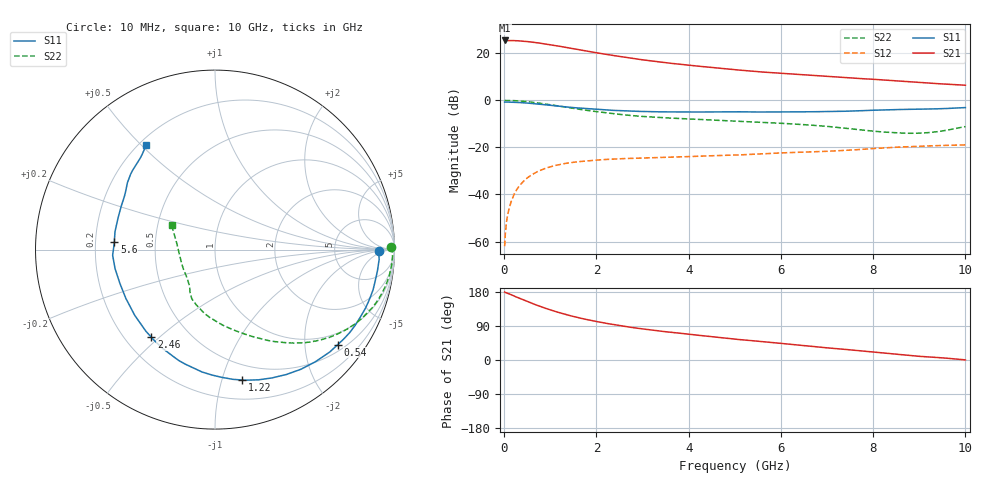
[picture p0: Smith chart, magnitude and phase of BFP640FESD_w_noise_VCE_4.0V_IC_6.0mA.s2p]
! Infineon Technologies  Discrete & RF Semiconductors
! BFP640FESD
! VCE =  4.0 V,  IC =  6.0 mA
! Common Emitter S-Parameters:  Jan 2016
# GHz  S  MA  R  50
!  f  S11  S21  S12  S22
! GHz  MAG  ANG  MAG  ANG  MAG  ANG  MAG  ANG
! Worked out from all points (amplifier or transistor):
!   233 points, 10 MHz to 10 GHz, reference 50 ohm
!   highest |S21| = 25.4 dB at 10 MHz (marker M1)
!   |S21| within 3 dB of that: start of sweep to 1.352 GHz
!   unconditionally stable (mu >= 1): start of sweep to 12.51 MHz; 5.603 GHz to end of sweep
!   at 200 MHz: K = 0.10, MSG = 33.0 dB, |S12| = -40.6 dB
!   at 1.74 GHz: K = 0.34, MSG = 23.4 dB, |S12| = -25.8 dB
!   at 10 GHz: K = 1.18, MAG = 10.1 dB, |S12| = -18.9 dB
!   lowest NFmin = 0.56 dB at 450 MHz
!   S11 on the Smith chart (normalised r, x): 10 MHz: 22, -2; 540 MHz: 0.66, -2.79; 1.22 GHz: 0.36, -1.17; 2.46 GHz: 0.31, -0.47; 5.6 GHz: 0.28, +0.04; 10 GHz: 0.23, +0.52
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0.01  0.9147 -0.4  18.57 179.2  0.0008 -5.4  0.9825 0.8
0.045  0.9156 -3.1  18.41 177.4  0.0024 71.9  0.9897 -1.8
0.085  0.9137 -6.0  18.45 175.6  0.0041 77.5  0.9891 -3.5
0.195  0.9087 -13.9  18.46 170.1  0.0091 77.8  0.982 -8.2
0.3  0.8998 -21.3  18.28 164.6  0.0139 75.7  0.9699 -12.5
0.54  0.865 -37.7  17.42 152.5  0.0239 68.2  0.9239 -21.9
0.7  0.8386 -48.2  16.72 145.0  0.0298 63.3  0.8857 -27.7
0.9  0.8013 -60.3  15.63 136.3  0.036 57.6  0.8317 -34.3
1.02  0.7781 -67.2  14.96 131.5  0.0392 54.5  0.7977 -38.1
1.22  0.7427 -78.1  13.87 124.0  0.0436 49.9  0.7429 -43.7
1.4  0.7123 -87.1  12.9 117.8  0.0468 46.3  0.6956 -48.4
1.68  0.674 -99.3  11.55 109.6  0.0506 41.8  0.6325 -54.7
2  0.6402 -111.1  10.17 101.6  0.0537 38.1  0.5739 -61.0
2.46  0.6036 -126.0  8.633 91.7  0.057 34.2  0.5071 -69.4
2.98  0.5785 -140.2  7.262 82.3  0.0594 31.4  0.4549 -77.8
3.4  0.5669 -149.2  6.436 76.3  0.0609 30.5  0.4291 -82.8
4  0.5624 -160.5  5.539 67.9  0.0637 30.2  0.4017 -88.6
5.1  0.569 -178.0  4.363 53.9  0.0692 29.9  0.3566 -100.2
5.6  0.5628 175.6  3.971 48.4  0.0728 30.9  0.3403 -104.1
6.8  0.5719 157.7  3.304 34.5  0.0813 29.6  0.2889 -117.8
8.4  0.6302 138.3  2.62 16.4  0.0997 28.1  0.2064 -148.6
10  0.6989 123.1  2.085 0.3  0.1129 20.9  0.2766 150.9
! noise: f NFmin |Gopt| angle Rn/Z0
0.45  0.56  0.41  7  0.12
2.4  0.71  0.23  58  0.11
5.5  0.99  0.39  149  0.08
10  1.78  0.49  -120  0.24
